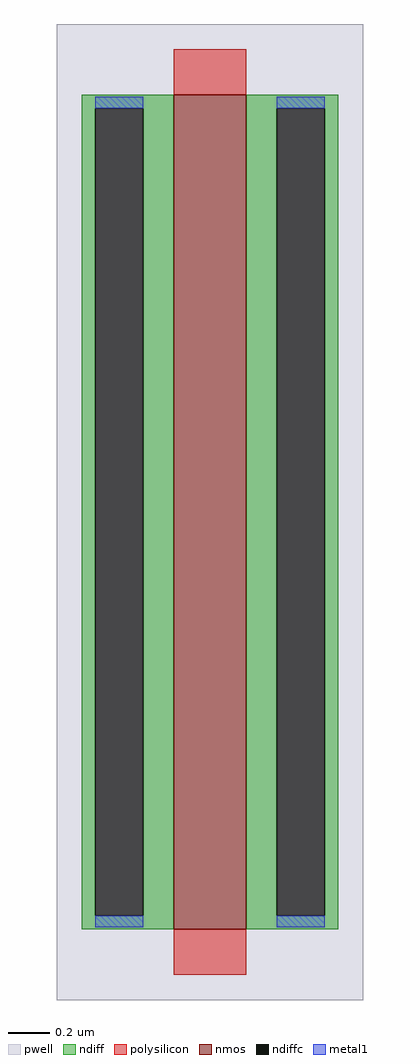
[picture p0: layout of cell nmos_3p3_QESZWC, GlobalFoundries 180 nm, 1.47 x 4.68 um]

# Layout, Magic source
magic
tech gf180mcuC
magscale 1 10
<< pwell >>
rect -147 -468 147 468
<< nmos >>
rect -35 -400 35 400
<< ndiff >>
rect -123 387 -35 400
rect -123 -387 -110 387
rect -64 -387 -35 387
rect -123 -400 -35 -387
rect 35 387 123 400
rect 35 -387 64 387
rect 110 -387 123 387
rect 35 -400 123 -387
<< ndiffc >>
rect -110 -387 -64 387
rect 64 -387 110 387
<< polysilicon >>
rect -35 400 35 444
rect -35 -444 35 -400
<< metal1 >>
rect -110 387 -64 398
rect -110 -398 -64 -387
rect 64 387 110 398
rect 64 -398 110 -387
<< properties >>
string gencell nmos_3p3
string library gf180mcu
string parameters w 4 l 0.35 m 1 nf 1 diffcov 100 polycov 100 guard 0 glc 0 grc 0 gtc 0 gbc 0 tbcov 100 rlcov 100 topc 0 botc 0 poverlap 0 doverlap 1 lmin 0.28 wmin 0.22 full_metal 0 compatible {nmos_3p3 nmos_6p0 nmos_6p0_nat}
<< end >>
